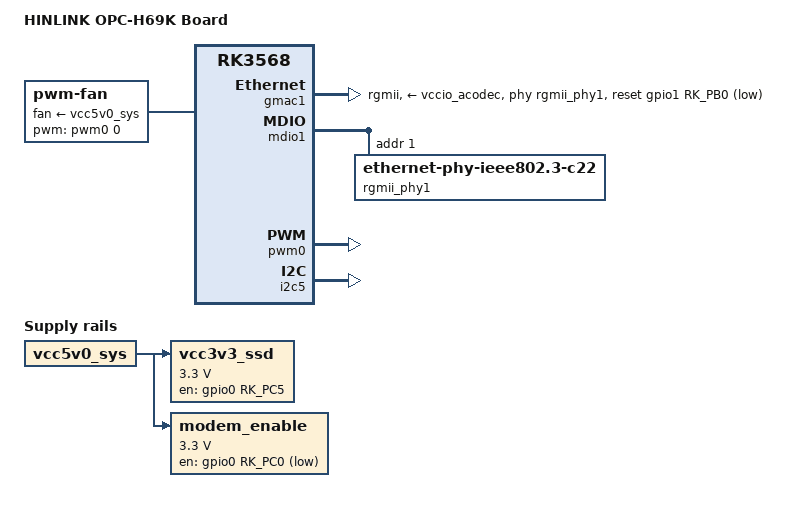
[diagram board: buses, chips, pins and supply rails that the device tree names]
// SPDX-License-Identifier: (GPL-2.0+ OR MIT)
/*
 * Copyright (c) 2020 Rockchip Electronics Co., Ltd.
 */

/dts-v1/;

#include "rk3568-hinlink.dtsi"

/ {
	model = "HINLINK OPC-H69K Board";
	compatible = "hinlink,opc-h69k", "rockchip,rk3568";

	aliases {
		ethernet0 = &gmac1;
	};

	vcc3v3_ssd: vcc3v3-ssd-regulator {
		compatible = "regulator-fixed";
		regulator-name = "vcc3v3_ssd";
		regulator-always-on;
		regulator-boot-on;
		regulator-min-microvolt = <3300000>;
		regulator-max-microvolt = <3300000>;
		enable-active-high;
		gpio = <&gpio0 RK_PC5 GPIO_ACTIVE_HIGH>;
		vin-supply = <&vcc5v0_sys>;
		pinctrl-names = "default";
		pinctrl-0 = <&vcc3v3_ssd_en>;
	};

	modem-enable-regulator {
		compatible = "regulator-fixed";
		regulator-name = "modem_enable";
		regulator-always-on;
		regulator-boot-on;
		regulator-min-microvolt = <3300000>;
		regulator-max-microvolt = <3300000>;
		gpio = <&gpio0 RK_PC0 GPIO_ACTIVE_LOW>;
		startup-delay-us = <2000000>;
		vin-supply = <&vcc5v0_sys>;
		pinctrl-names = "default";
		pinctrl-0 = <&modem_enable_en>;
	};

	fan: pwm-fan {
		compatible = "pwm-fan";
		cooling-levels = <0 0x55 0x66 0x77 0x88 0x99 0xbb 0xcc 0xff>;
		#cooling-cells = <2>;
		fan-supply = <&vcc5v0_sys>;
		pwms = <&pwm0 0 50000 0>;
	};
};

&gmac0 {
	status = "disabled";
};

&gmac1 {
	phy-mode = "rgmii";
	clock_in_out = "output";

	snps,reset-gpio = <&gpio1 RK_PB0 GPIO_ACTIVE_LOW>;
	snps,reset-active-low;
	/* Reset time is 15ms, 50ms for rtl8211f */
	snps,reset-delays-us = <0 15000 50000>;

	assigned-clocks = <&cru SCLK_GMAC1_RX_TX>, <&cru SCLK_GMAC1>;
	assigned-clock-parents = <&cru SCLK_GMAC1_RGMII_SPEED>, <&cru CLK_MAC1_2TOP>;
	assigned-clock-rates = <0>, <125000000>;
	phy-handle = <&rgmii_phy1>;
	pinctrl-names = "default";
	pinctrl-0 = <&gmac1m1_miim
		     &gmac1m1_tx_bus2
		     &gmac1m1_rx_bus2
		     &gmac1m1_rgmii_clk
		     &gmac1m1_rgmii_bus>;

	tx_delay = <0x4f>;
	rx_delay = <0x26>;

	// this supply is actually not for phy, but for reset-gpio GPIO1_B0 in vccio1 domain
	phy-supply = <&vccio_acodec>;
	status = "okay";
};

&mdio1 {
	rgmii_phy1: ethernet-phy@1 {
		compatible = "ethernet-phy-ieee802.3-c22";
		reg = <0x1>;
		pinctrl-0 = <&eth_phy1_reset_pin>;
		pinctrl-names = "default";
	};
};

&pwm0 {
	status = "okay";
};

&i2c5 {
	status = "okay";
};

&cpu_thermal {
	trips {
		cpu_warm: cpu_warm {
			temperature = <65000>;
			hysteresis = <5000>;
			type = "active";
		};

		cpu_hot: cpu_hot {
			temperature = <85000>;
			hysteresis = <5000>;
			type = "active";
		};

		cpu_hall: cpu_hall {
			temperature = <95000>;
			hysteresis = <5000>;
			type = "active";
		};

		cpu_idle: cpu_idle {
			temperature = <20000>;
			hysteresis = <3000>;
			type = "passive";
		};
	};

	cooling-maps {
		map2 {
			trip = <&cpu_idle>;
			cooling-device = <&fan THERMAL_NO_LIMIT 2>;
		};

		map3 {
			trip = <&cpu_warm>;
			cooling-device = <&fan 2 4>;
		};

		map4 {
			trip = <&cpu_hot>;
			cooling-device = <&fan 4 6>;
		};

		map5 {
			trip = <&cpu_hall>;
			cooling-device = <&fan 6 THERMAL_NO_LIMIT>;
		};

	};
};

&pinctrl {
	gmac1 {
		eth_phy1_reset_pin: eth-phy1-reset-pin {
			rockchip,pins = <1 RK_PB0 RK_FUNC_GPIO &pcfg_pull_up>;
		};
	};
	ssd {
		vcc3v3_ssd_en: vcc3v3-ssd-en {
			rockchip,pins = <0 RK_PC5 RK_FUNC_GPIO &pcfg_pull_none>;
		};
	};
	modem {
		modem_enable_en: modem-enable-en {
			rockchip,pins = <0 RK_PC0 RK_FUNC_GPIO &pcfg_pull_none>;
		};
	};
};
